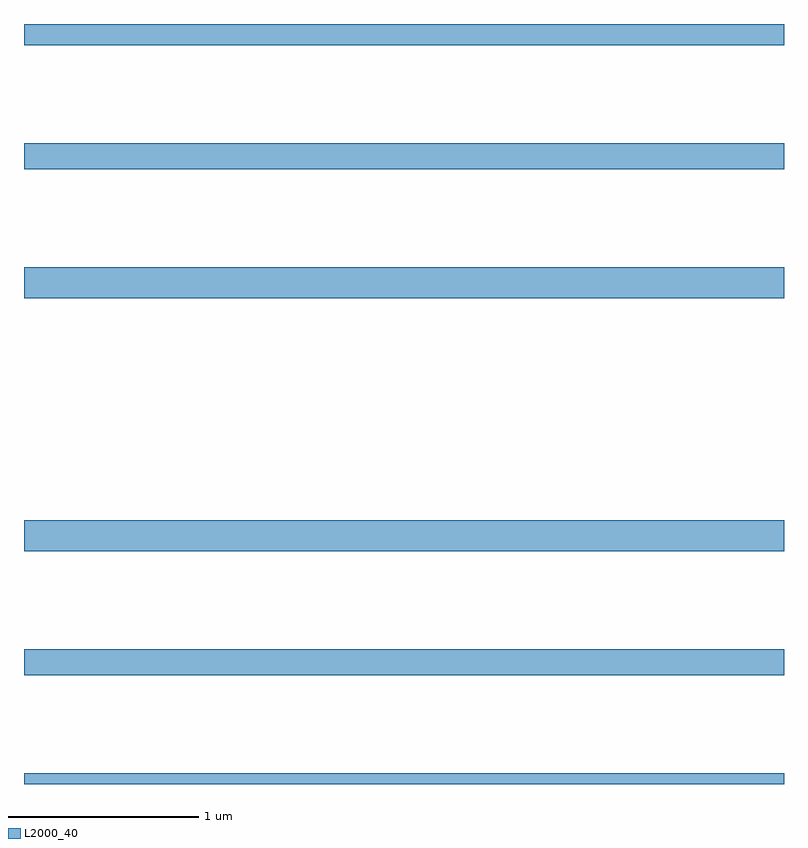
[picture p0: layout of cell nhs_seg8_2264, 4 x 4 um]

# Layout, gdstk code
import gdstk
lib = gdstk.Library(unit=1e-6, precision=1e-09)
def R(c, l, rs):  # rectangles x0, y0, x1, y1
    for r in rs: c.add(gdstk.rectangle(r[:2], r[2:], *l))
L2000_40 = (2000, 40)

nhs_seg8_2264 = lib.new_cell('nhs_seg8_2264')
R(nhs_seg8_2264, L2000_40, [(253,1157.9,257,1157.956), (253,1158.472,257,1158.608), (253,1159.124,257,1159.288), (253,1160.456,257,1160.62), (253,1161.136,257,1161.272), (253,1161.788,257,1161.9)])

lib.write_gds('nhs_seg8_2264.gds')
